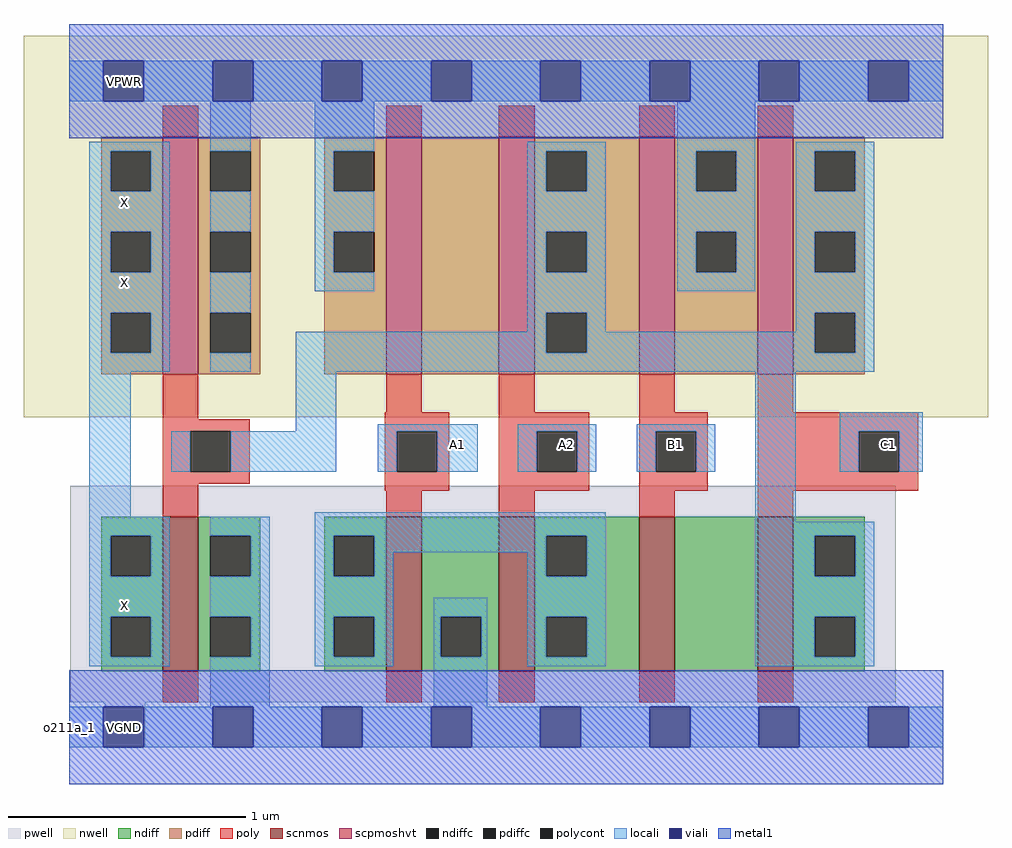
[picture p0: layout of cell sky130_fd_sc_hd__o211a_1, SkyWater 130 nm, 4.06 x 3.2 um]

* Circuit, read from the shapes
.subckt sky130_fd_sc_hd__o211a_1 VGND VPWR VPB VNB X A1 A2 B1 C1
XM1 VGND n1 X VNB sky130_fd_pr__nfet_01v8 w=0.65 l=0.15
XM2 VGND A1 n2 VNB sky130_fd_pr__nfet_01v8 w=0.65 l=0.15
XM3 n2 A2 VGND VNB sky130_fd_pr__nfet_01v8 w=0.65 l=0.15
XM4 n3 B1 n2 VNB sky130_fd_pr__nfet_01v8 w=0.65 l=0.15
XM5 n1 C1 n3 VNB sky130_fd_pr__nfet_01v8 w=0.65 l=0.15
XM6 VPWR n1 X VPB sky130_fd_pr__pfet_01v8_hvt w=1 l=0.15
XM7 n4 A1 VPWR VPB sky130_fd_pr__pfet_01v8_hvt w=1 l=0.15
XM8 n1 A2 n4 VPB sky130_fd_pr__pfet_01v8_hvt w=1 l=0.15
XM9 VPWR B1 n1 VPB sky130_fd_pr__pfet_01v8_hvt w=1 l=0.15
XM10 n1 C1 VPWR VPB sky130_fd_pr__pfet_01v8_hvt w=1 l=0.15
.ends

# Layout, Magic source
magic
tech sky130B
magscale 1 2
<< nwell >>
rect -38 221 774 542
<< pwell >>
rect 1 -19 696 163
rect 30 -57 64 -19
<< scnmos >>
rect 79 7 109 137
rect 267 7 297 137
rect 362 7 392 137
rect 480 7 510 137
rect 580 7 610 137
<< scpmoshvt >>
rect 79 257 109 457
rect 267 257 297 457
rect 362 257 392 457
rect 480 257 510 457
rect 580 257 610 457
<< ndiff >>
rect 27 121 79 137
rect 27 87 35 121
rect 69 87 79 121
rect 27 53 79 87
rect 27 19 35 53
rect 69 19 79 53
rect 27 7 79 19
rect 109 121 161 137
rect 109 87 119 121
rect 153 87 161 121
rect 109 53 161 87
rect 109 19 119 53
rect 153 19 161 53
rect 109 7 161 19
rect 215 121 267 137
rect 215 87 223 121
rect 257 87 267 121
rect 215 53 267 87
rect 215 19 223 53
rect 257 19 267 53
rect 215 7 267 19
rect 297 53 362 137
rect 297 19 313 53
rect 347 19 362 53
rect 297 7 362 19
rect 392 121 480 137
rect 392 87 402 121
rect 436 87 480 121
rect 392 53 480 87
rect 392 19 402 53
rect 436 19 480 53
rect 392 7 480 19
rect 510 7 580 137
rect 610 121 670 137
rect 610 87 628 121
rect 662 87 670 121
rect 610 53 670 87
rect 610 19 628 53
rect 662 19 670 53
rect 610 7 670 19
<< pdiff >>
rect 27 445 79 457
rect 27 411 35 445
rect 69 411 79 445
rect 27 377 79 411
rect 27 343 35 377
rect 69 343 79 377
rect 27 309 79 343
rect 27 275 35 309
rect 69 275 79 309
rect 27 257 79 275
rect 109 445 161 457
rect 109 411 119 445
rect 153 411 161 445
rect 109 377 161 411
rect 109 343 119 377
rect 153 343 161 377
rect 109 309 161 343
rect 109 275 119 309
rect 153 275 161 309
rect 109 257 161 275
rect 215 445 267 457
rect 215 411 223 445
rect 257 411 267 445
rect 215 377 267 411
rect 215 343 223 377
rect 257 343 267 377
rect 215 257 267 343
rect 297 257 362 457
rect 392 445 480 457
rect 392 411 402 445
rect 436 411 480 445
rect 392 377 480 411
rect 392 343 402 377
rect 436 343 480 377
rect 392 309 480 343
rect 392 275 402 309
rect 436 275 480 309
rect 392 257 480 275
rect 510 445 580 457
rect 510 411 528 445
rect 562 411 580 445
rect 510 377 580 411
rect 510 343 528 377
rect 562 343 580 377
rect 510 257 580 343
rect 610 445 670 457
rect 610 411 628 445
rect 662 411 670 445
rect 610 377 670 411
rect 610 343 628 377
rect 662 343 670 377
rect 610 309 670 343
rect 610 275 628 309
rect 662 275 670 309
rect 610 257 670 275
<< ndiffc >>
rect 35 87 69 121
rect 35 19 69 53
rect 119 87 153 121
rect 119 19 153 53
rect 223 87 257 121
rect 223 19 257 53
rect 313 19 347 53
rect 402 87 436 121
rect 402 19 436 53
rect 628 87 662 121
rect 628 19 662 53
<< pdiffc >>
rect 35 411 69 445
rect 35 343 69 377
rect 35 275 69 309
rect 119 411 153 445
rect 119 343 153 377
rect 119 275 153 309
rect 223 411 257 445
rect 223 343 257 377
rect 402 411 436 445
rect 402 343 436 377
rect 402 275 436 309
rect 528 411 562 445
rect 528 343 562 377
rect 628 411 662 445
rect 628 343 662 377
rect 628 275 662 309
<< poly >>
rect 79 457 109 483
rect 267 457 297 483
rect 362 457 392 483
rect 480 457 510 483
rect 580 457 610 483
rect 79 219 109 257
rect 267 225 297 257
rect 362 225 392 257
rect 480 225 510 257
rect 580 225 610 257
rect 79 209 152 219
rect 79 175 102 209
rect 136 175 152 209
rect 79 165 152 175
rect 266 209 320 225
rect 266 175 276 209
rect 310 175 320 209
rect 79 137 109 165
rect 266 159 320 175
rect 362 209 438 225
rect 362 175 394 209
rect 428 175 438 209
rect 362 159 438 175
rect 480 209 538 225
rect 480 175 494 209
rect 528 175 538 209
rect 480 159 538 175
rect 580 209 715 225
rect 580 175 665 209
rect 699 175 715 209
rect 580 159 715 175
rect 267 137 297 159
rect 362 137 392 159
rect 480 137 510 159
rect 580 137 610 159
rect 79 -19 109 7
rect 267 -19 297 7
rect 362 -19 392 7
rect 480 -19 510 7
rect 580 -19 610 7
<< polycont >>
rect 102 175 136 209
rect 276 175 310 209
rect 394 175 428 209
rect 494 175 528 209
rect 665 175 699 209
<< locali >>
rect 0 487 29 521
rect 63 487 121 521
rect 155 487 213 521
rect 247 487 305 521
rect 339 487 397 521
rect 431 487 489 521
rect 523 487 581 521
rect 615 487 673 521
rect 707 487 736 521
rect 17 445 85 453
rect 17 411 35 445
rect 69 411 85 445
rect 17 377 85 411
rect 17 343 35 377
rect 69 343 85 377
rect 17 309 85 343
rect 17 275 35 309
rect 69 275 85 309
rect 17 259 85 275
rect 119 445 153 487
rect 119 377 153 411
rect 119 309 153 343
rect 207 445 257 487
rect 207 411 223 445
rect 207 377 257 411
rect 207 343 223 377
rect 207 327 257 343
rect 386 445 452 453
rect 386 411 402 445
rect 436 411 452 445
rect 386 377 452 411
rect 386 343 402 377
rect 436 343 452 377
rect 386 309 452 343
rect 512 445 578 487
rect 512 411 528 445
rect 562 411 578 445
rect 512 377 578 411
rect 512 343 528 377
rect 562 343 578 377
rect 512 327 578 343
rect 612 445 678 453
rect 612 411 628 445
rect 662 411 678 445
rect 612 377 678 411
rect 612 343 628 377
rect 662 343 678 377
rect 386 293 402 309
rect 119 259 153 275
rect 191 275 402 293
rect 436 293 452 309
rect 612 309 678 343
rect 612 293 628 309
rect 436 275 628 293
rect 662 275 678 309
rect 191 259 678 275
rect 17 137 52 259
rect 191 209 225 259
rect 86 175 102 209
rect 136 175 225 209
rect 260 209 344 215
rect 260 175 276 209
rect 310 175 344 209
rect 378 209 444 215
rect 378 175 394 209
rect 428 175 444 209
rect 478 209 544 215
rect 478 175 494 209
rect 528 175 544 209
rect 17 121 85 137
rect 17 87 35 121
rect 69 87 85 121
rect 17 53 85 87
rect 17 19 35 53
rect 69 19 85 53
rect 17 11 85 19
rect 119 121 169 137
rect 153 87 169 121
rect 119 53 169 87
rect 153 19 169 53
rect 119 -23 169 19
rect 207 121 452 141
rect 207 87 223 121
rect 257 107 402 121
rect 257 87 273 107
rect 207 53 273 87
rect 386 87 402 107
rect 436 87 452 121
rect 207 19 223 53
rect 257 19 273 53
rect 207 11 273 19
rect 307 53 352 69
rect 307 19 313 53
rect 347 19 352 53
rect 307 -23 352 19
rect 386 53 452 87
rect 386 19 402 53
rect 436 19 452 53
rect 386 11 452 19
rect 578 133 612 259
rect 649 209 719 225
rect 649 175 665 209
rect 699 175 719 209
rect 578 121 678 133
rect 578 87 628 121
rect 662 87 678 121
rect 578 53 678 87
rect 578 19 628 53
rect 662 19 678 53
rect 578 11 678 19
rect 0 -57 29 -23
rect 63 -57 121 -23
rect 155 -57 213 -23
rect 247 -57 305 -23
rect 339 -57 397 -23
rect 431 -57 489 -23
rect 523 -57 581 -23
rect 615 -57 673 -23
rect 707 -57 736 -23
<< viali >>
rect 29 487 63 521
rect 121 487 155 521
rect 213 487 247 521
rect 305 487 339 521
rect 397 487 431 521
rect 489 487 523 521
rect 581 487 615 521
rect 673 487 707 521
rect 29 -57 63 -23
rect 121 -57 155 -23
rect 213 -57 247 -23
rect 305 -57 339 -23
rect 397 -57 431 -23
rect 489 -57 523 -23
rect 581 -57 615 -23
rect 673 -57 707 -23
<< metal1 >>
rect 0 521 736 552
rect 0 487 29 521
rect 63 487 121 521
rect 155 487 213 521
rect 247 487 305 521
rect 339 487 397 521
rect 431 487 489 521
rect 523 487 581 521
rect 615 487 673 521
rect 707 487 736 521
rect 0 456 736 487
rect 0 -23 736 8
rect 0 -57 29 -23
rect 63 -57 121 -23
rect 155 -57 213 -23
rect 247 -57 305 -23
rect 339 -57 397 -23
rect 431 -57 489 -23
rect 523 -57 581 -23
rect 615 -57 673 -23
rect 707 -57 736 -23
rect 0 -88 736 -57
<< labels >>
rlabel comment s 0 -40 0 -40 4 o211a_1
flabel metal1 s 30 -57 64 -23 0 FreeSans 200 0 0 0 VGND
port 2 nsew
flabel metal1 s 30 487 64 521 0 FreeSans 200 0 0 0 VPWR
port 3 nsew
flabel nwell s 30 487 64 521 0 FreeSans 200 0 0 0 VPB
port 5 nsew
flabel pwell s 30 -57 64 -23 0 FreeSans 200 0 0 0 VNB
port 6 nsew
flabel locali s 673 181 707 215 0 FreeSans 250 0 0 0 C1
port 11 nsew
flabel locali s 494 181 528 215 0 FreeSans 250 0 0 0 B1
port 10 nsew
flabel locali s 402 181 436 215 0 FreeSans 250 0 0 0 A2
port 9 nsew
flabel locali s 310 181 344 215 0 FreeSans 250 0 0 0 A1
port 8 nsew
flabel locali s 30 45 64 79 0 FreeSans 250 0 0 0 X
port 7 nsew
flabel locali s 30 385 64 419 0 FreeSans 250 0 0 0 X
port 7 nsew
flabel locali s 30 317 64 351 0 FreeSans 250 0 0 0 X
port 7 nsew
<< properties >>
string FIXED_BBOX 0 -40 736 504
string path 0.000 -1.000 18.400 -1.000 
<< end >>
